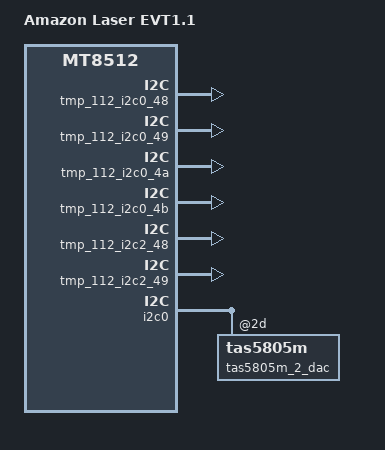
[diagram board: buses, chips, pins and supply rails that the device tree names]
/*
 * Copyright (c) 2020 Amazon.com
 *
 * SPDX-License-Identifier: (GPL-2.0)
 */

/dts-v1/;
#include "laser-mt8512.dtsi"

/ {
	model = "Amazon Laser EVT1.1";
	compatible = "amzn,laser-evt1", "mediatek,mt8512";

	chosen {
		bootargs = "cma=128M";
	};
};

&tsl25723_i2c2_39 {
	interrupt-parent = <&pio>;
	interrupts = <111 (IRQ_TYPE_LEVEL_LOW)>;
};

&tmp_112_i2c0_48 {
	status = "okay";
};

&tmp_112_i2c0_49 {
	status = "okay";
};

&tmp_112_i2c0_4a {
	status = "okay";
};

&tmp_112_i2c0_4b {
	status = "okay";
};

&tmp_112_i2c2_48 {
	status = "okay";
};

&tmp_112_i2c2_49 {
	status = "okay";
};

&i2c0 {
	tas5805m_2_dac: tas5805m@2d {
		swap-channels;
	};
};

&pwm {
	invert = <1>;
};

&volumeup_button {
	swdebounce-interval = <100>;
	dyndebounce-interval = <0>;
	dyndebounce-duration = <10000>;		/* 10 sec */
};

&volumedown_button {
	swdebounce-interval = <100>;
	dyndebounce-interval = <0>;
	dyndebounce-duration = <10000>;		/* 10 sec */
};

&action_button {
	swdebounce-interval = <100>;
	dyndebounce-interval = <0>;
	dyndebounce-duration = <10000>;		/* 10 sec */
};

&case_virtual_sensor {
	zone-list {
		therm0_s = <0 0 0 0 (-40000) 125000>;
		therm1_s = <0 0 0 0 (-40000) 125000>;
		therm2_s = <0 0 0 0 (-40000) 125000>;
		therm3_s = <1 22700 23 1300 (-40000) 125000>;
		wifi_temp = <0 0 0 0 0 0>;
		mtktscpu = <1 85900 11 (-367) 0 0>;
		tmp_112_i2c0_4a_s = <1 50200 1000 192 0 0>;
	};
};

&skin_virtual_sensor {
	zone-list {
		therm0_s = <1 18400 1000 1280 (-40000) 125000>;
		therm1_s = <0 0 0 0 (-40000) 125000>;
		therm2_s = <0 0 0 0 (-40000) 125000>;
		therm3_s = <1 67700 15 (-373) (-40000) 125000>;
		wifi_temp = <0 0 0 0 0 0>;
		mtktscpu = <1 66700 0 19 0 0>;
		tmp_112_i2c0_4a_s = <0 0 0 0 0 0>;
	};
};

&back_virtual_sensor {
	zone-list {
		therm0_s = <0 0 0 0 (-40000) 125000>;
		therm1_s = <0 0 0 0 (-40000) 125000>;
		therm2_s = <0 0 0 0 (-40000) 125000>;
		therm3_s = <1 21100 233 1330 (-40000) 125000>;
		wifi_temp = <0 0 0 0 0 0>;
		mtktscpu = <1 82900 22 (-261) 0 0>;
		tmp_112_i2c0_4a_s = <0 0 0 0 0 0>;
	};
};

&cpu_virtual_sensor {
	zone-list {
		therm0_s = <0 0 0 0 (-40000) 125000>;
		therm1_s = <0 0 0 0 (-40000) 125000>;
		therm2_s = <0 0 0 0 (-40000) 125000>;
		therm3_s = <0 0 0 0 (-40000) 125000>;
		wifi_temp = <0 0 0 0 0 0>;
		mtktscpu = <0 0 1000 1000 0 0>;
		tmp_112_i2c0_4a_s = <0 0 0 0 0 0>;
	};
};

&cpufilter_virtual_sensor {
	zone-list {
		therm0_s = <0 0 0 0 (-40000) 125000>;
		therm1_s = <0 0 0 0 (-40000) 125000>;
		therm2_s = <0 0 0 0 (-40000) 125000>;
		therm3_s = <0 0 0 0 (-40000) 125000>;
		wifi_temp = <0 0 0 0 0 0>;
		mtktscpu = <0 0 1000 1000 0 0>;
		tmp_112_i2c0_4a_s = <0 0 0 0 0 0>;
	};
};

/delete-node/ &case1_virtual;
/delete-node/ &case1_virtual_sensor;
/delete-node/ &back1_virtual;
/delete-node/ &back1_virtual_sensor;
